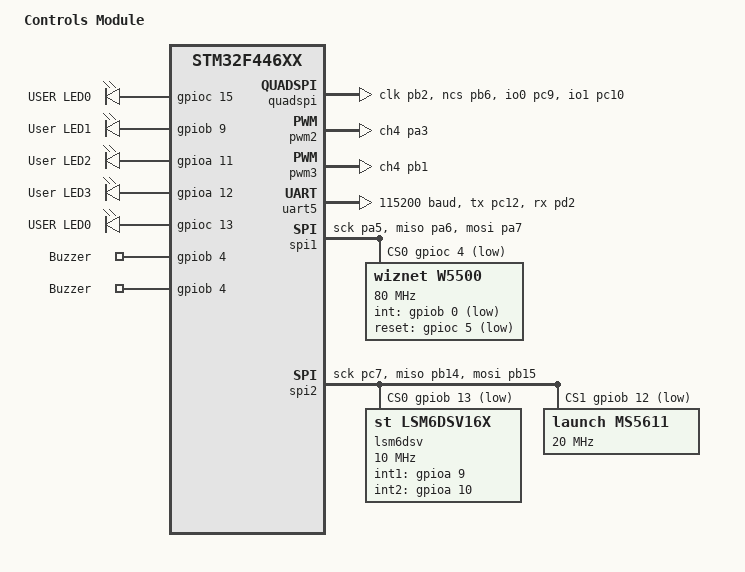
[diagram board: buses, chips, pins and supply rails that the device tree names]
/dts-v1/;
#include <st/f4/stm32f446Xe.dtsi>
#include <st/f4/stm32f446r(c-e)tx-pinctrl.dtsi>
#include <zephyr/dt-bindings/input/input-event-codes.h>

/ {
	model = "Controls Module";
	compatible = "st,stm32f446xx";

	chosen {
		zephyr,sram = &sram0;
		zephyr,flash = &flash0;

		zephyr,console = &uart5;
        zephyr,shell-uart = &uart5;
		zephyr,uart-pipe = &uart5;

		storage = &w25q128;
	};

	aliases {
		led0 = &led0;
		buzz = &buzzer;
	};

	leds: leds {
		compatible = "gpio-leds";

		led0: led0 {
			gpios = <&gpioc 15 GPIO_ACTIVE_HIGH>;
			label = "USER LED0";
		};

		led1: led1 {
			gpios = <&gpiob 9 GPIO_ACTIVE_HIGH>;
			label = "User LED1";
		};

		led2: led2 {
			gpios = <&gpioa 11 GPIO_ACTIVE_HIGH>;
			label = "User LED2";
		};

		led3: led3 {
			gpios = <&gpioa 12 GPIO_ACTIVE_HIGH>;
			label = "User LED3";
		};
	};

	outputs: outputs {
		compatible = "gpio-leds";

		servo5ven: servo5ven {
			// becomes SERVO-PWR on Backplane-GPIO-6
			gpios = <&gpioc 13 GPIO_ACTIVE_HIGH>;
			label = "USER LED0";
		};

		buzzer: buzzer {
			// arguably timer, need to check what buzzers got soldered
			// tim3 ch1
			gpios = <&gpiob 4 GPIO_ACTIVE_HIGH>;
			label = "Buzzer";	
		};

		wiz_led_en: wiz-led-en {
			// wiznet will only drive its leds if this is high
			gpios = <&gpiob 4 GPIO_ACTIVE_HIGH>;
			label = "Buzzer";
		};
	};


	pyro_ch0: pyro-ch0 {
		// ch #1 (0) (named weird in schematic)
		control-gpios = <&gpioc 1 GPIO_ACTIVE_HIGH>;
		sense-gpios = <&gpioc 0 GPIO_ACTIVE_HIGH>;
		label = "Pyro Channel 0";
	};
	pyro_ch1: pyro-ch1 {
		// ch1 #2 (1) (named weird in schematic)
		control-gpios = <&gpioa 2 GPIO_ACTIVE_HIGH>;
		sense-gpios = <&gpioa 1 GPIO_ACTIVE_HIGH>;
		label = "Pyro Channel 1";
	};

	soc {
		quadspi: spi@a0001000 {
			compatible = "st,stm32-qspi";
			pinctrl-names = "default";
			
			pinctrl-0 = <&quadspi_clk_pb2 &quadspi_bk1_ncs_pb6
			&quadspi_bk1_io0_pc9 &quadspi_bk1_io1_pc10>;

			reg = <0xa0001000 0x400>, <0x90000000 DT_SIZE_M(128)>;
			interrupts = <92 0>;
			clocks = <&rcc STM32_CLOCK(AHB3, 1U)>;
			flash-id = <1>;
			status = "okay";
			#address-cells = <0x1>;
			#size-cells = <0x0>;

			// DMA needs testing
			// dmas = <&dma2 7 3 0x0 0x3>;
			// dma-names = "tx_rx";
	
			w25q128: qspi-nor-flash@90000000 {
				compatible = "st,stm32-qspi-nor";
				reg = <0x90000000 0x10000000>; /* 128 Mbits */
				status = "disabled";

				size = <DT_SIZE_M(128)>; /* 128 Mbits */
				qspi-max-frequency = <DT_FREQ_M(50)>;
				spi-bus-width = <2>;

				jedec-id = [ ef 40 18  ];
				page-size = <256>;
				requires-ulbpr;
	
				partitions {
					compatible = "fixed-partitions";
					#address-cells = <1>;
					#size-cells = <1>;
				};
			};
		};
	};
	
};


&timers2{
	// for Servo 1
	// STM-GPIO-A3, Backplane-GPIO-5, 30-pin-Connector-28
	// pwms = <&pwm2 4 PWM_MSEC(20) PWM_POLARITY_NORMAL>;
	
	pwm2: pwm {
		status = "okay";
		pinctrl-0 = <&tim2_ch4_pa3>;
		pinctrl-names = "default";
	};
};

&timers3{
	// for Servo 2
	// STM-GPIO-B1, Backplane-GPIO-7, 30-pin-Connector-30
	// pwms = <&pwm3 4 PWM_MSEC(20) PWM_POLARITY_NORMAL>;

	pwm3: pwm {
		status = "okay";
		pinctrl-0 = <&tim3_ch4_pb1>;
		pinctrl-names = "default";
	};
};

&clk_lsi {
	status = "okay";
};

&clk_hsi {
	clock-frequency = <DT_FREQ_M(16)>;
	status = "okay";
};

&pll {
	div-m = <8>;
	mul-n = <90>;
	div-p = <2>;
	div-q = <2>;
	div-r = <2>;
	clocks = <&clk_hsi>;
	status = "okay";
};

&rcc {
	clocks = <&pll>;
	clock-frequency = <DT_FREQ_M(90)>;
	ahb-prescaler = <1>;
	apb1-prescaler = <16>;
	apb2-prescaler = <2>;
};

&uart5 {
	pinctrl-0 = <&uart5_tx_pc12 &uart5_rx_pd2>;
	pinctrl-names = "default";
	current-speed = <115200>;
	status = "okay";
};

&dma1 {
	status = "okay";
};

&dma2 {
	status = "okay";
};

&spi1 {
	pinctrl-0 = <&spi1_sck_pa5 &spi1_miso_pa6 &spi1_mosi_pa7>;
	cs-gpios = <&gpioc 4 GPIO_ACTIVE_LOW>;

	pinctrl-names = "default";
	status = "okay";

    dmas = <&dma2 5 3 (STM32_DMA_PERIPH_TX | STM32_DMA_PRIORITY_HIGH | STM32_DMA_OFFSET_FIXED_4 | STM32_DMA_PERIPH_8BITS | STM32_DMA_MEM_8BITS) 0x1>,
           <&dma2 2 3 (STM32_DMA_PERIPH_RX | STM32_DMA_PRIORITY_HIGH | STM32_DMA_OFFSET_FIXED_4 | STM32_DMA_PERIPH_8BITS | STM32_DMA_MEM_8BITS) 0x1>;
    dma-names = "tx", "rx";


	w5500: w5500@0 {
		compatible = "wiznet,w5500";
		status = "okay";
		reg = <0x0>;
		spi-max-frequency = <DT_FREQ_M(80)>;
		int-gpios = <&gpiob 0 GPIO_ACTIVE_LOW>;
		reset-gpios = <&gpioc 5 GPIO_ACTIVE_LOW>;
		zephyr,random-mac-address;
	};
};


&spi2 {
	pinctrl-0 = <&spi2_sck_pc7 &spi2_miso_pb14 &spi2_mosi_pb15>;
	
	cs-gpios =  <&gpiob 13 GPIO_ACTIVE_LOW>, // LSM6DSLTR;
				<&gpiob 12 GPIO_ACTIVE_LOW>; // MS5611
	pinctrl-names = "default";
	status = "okay";

	dmas = <&dma1 4 0 (STM32_DMA_PERIPH_TX | STM32_DMA_PRIORITY_HIGH | STM32_DMA_OFFSET_FIXED_4 | STM32_DMA_PERIPH_8BITS | STM32_DMA_MEM_8BITS) 0x1>,
		   <&dma1 3 0 (STM32_DMA_PERIPH_RX | STM32_DMA_PRIORITY_HIGH | STM32_DMA_OFFSET_FIXED_4 | STM32_DMA_PERIPH_8BITS | STM32_DMA_MEM_8BITS) 0x1>;
	dma-names = "tx", "rx";

	// LSM6DSVETR (the altium/schematic is wrong lol)
	lsm6dsv: lsm6dsv@0 {
		// Even though this isn't the exact same compatible string, it works for the LSM6DSVETR
		// See link for more info: https: //github.com/zephyrproject-rtos/zephyr/discussions/72902
		compatible = "st,lsm6dsv16x";
		reg = <0>;
		spi-max-frequency = <DT_FREQ_M(10)>;

		int1-gpios = <&gpioa 9 GPIO_ACTIVE_HIGH>;
		int2-gpios = <&gpioa 10 GPIO_ACTIVE_HIGH>;
	};

	ms5611: ms5611@1{
		compatible = "launch,ms5611";
		reg = <1>;
		status = "okay";
		spi-max-frequency = <DT_FREQ_M(20)>;
	};

};
